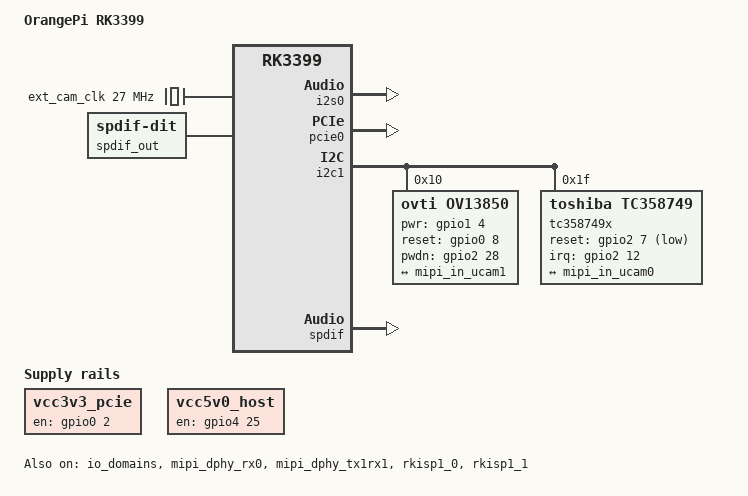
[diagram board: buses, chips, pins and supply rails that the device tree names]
/*
 * Copyright (c) 2016 Fuzhou Rockchip Electronics Co., Ltd
 *
 * This file is dual-licensed: you can use it either under the terms
 * of the GPL or the X11 license, at your option. Note that this dual
 * licensing only applies to this file, and not this project as a
 * whole.
 *
 *  a) This file is free software; you can redistribute it and/or
 *     modify it under the terms of the GNU General Public License as
 *     published by the Free Software Foundation; either version 2 of the
 *     License, or (at your option) any later version.
 *
 *     This file is distributed in the hope that it will be useful,
 *     but WITHOUT ANY WARRANTY; without even the implied warranty of
 *     MERCHANTABILITY or FITNESS FOR A PARTICULAR PURPOSE.  See the
 *     GNU General Public License for more details.
 *
 * Or, alternatively,
 *
 *  b) Permission is hereby granted, free of charge, to any person
 *     obtaining a copy of this software and associated documentation
 *     files (the "Software"), to deal in the Software without
 *     restriction, including without limitation the rights to use,
 *     copy, modify, merge, publish, distribute, sublicense, and/or
 *     sell copies of the Software, and to permit persons to whom the
 *     Software is furnished to do so, subject to the following
 *     conditions:
 *
 *     The above copyright notice and this permission notice shall be
 *     included in all copies or substantial portions of the Software.
 *
 *     THE SOFTWARE IS PROVIDED "AS IS", WITHOUT WARRANTY OF ANY KIND,
 *     EXPRESS OR IMPLIED, INCLUDING BUT NOT LIMITED TO THE WARRANTIES
 *     OF MERCHANTABILITY, FITNESS FOR A PARTICULAR PURPOSE AND
 *     NONINFRINGEMENT. IN NO EVENT SHALL THE AUTHORS OR COPYRIGHT
 *     HOLDERS BE LIABLE FOR ANY CLAIM, DAMAGES OR OTHER LIABILITY,
 *     WHETHER IN AN ACTION OF CONTRACT, TORT OR OTHERWISE, ARISING
 *     FROM, OUT OF OR IN CONNECTION WITH THE SOFTWARE OR THE USE OR
 *     OTHER DEALINGS IN THE SOFTWARE.
 */

/dts-v1/;
#include "rk3399-orangepi-common.dtsi"

//#include "rk3399-orangepi-rkisp1.dtsi"
#include "rk3399-orangepi-lcd.dtsi"

/ {
	model = "OrangePi RK3399";
	compatible = "rockchip,rk3399";

	vcc3v3_pcie: vcc3v3-pcie-regulator {
		compatible = "regulator-fixed";
		enable-active-high;
		regulator-always-on;
		regulator-boot-on;
		gpio = <&gpio0 2 GPIO_ACTIVE_HIGH>;
		pinctrl-names = "default";
		pinctrl-0 = <&pcie_drv>;
		regulator-name = "vcc3v3_pcie";
	};

        vcc5v0_host: vcc5v0-host-regulator {
		compatible = "regulator-fixed";
		enable-active-high;
		gpio = <&gpio4 25 GPIO_ACTIVE_HIGH>;
		pinctrl-names = "default";
		pinctrl-0 = <&host_vbus_drv>;
		regulator-name = "vcc5v0_host";
		regulator-always-on;
	};

        ext_cam_clk: external-camera-clock {
                compatible = "fixed-clock";
                clock-frequency = <27000000>;
                clock-output-names = "CLK_CAMERA_27MHZ";
                #clock-cells = <0>;
        };

        spdif_sound: spdif-sound {
                status = "okay";
                compatible = "simple-audio-card";
                simple-audio-card,name = "ROCKCHIP,SPDIF";
                simple-audio-card,cpu {
                        sound-dai = <&spdif>;
                };
                simple-audio-card,codec {
                        sound-dai = <&spdif_out>;
                };
        };

        spdif_out: spdif-out {
                status = "okay";
                compatible = "linux,spdif-dit";
                #sound-dai-cells = <0>;
        };
};

&i2s0 {
        status = "okay";
        rockchip,i2s-broken-burst-len;
        rockchip,playback-channels = <8>;
        rockchip,capture-channels = <8>;
        #sound-dai-cells = <0>;
};

&rt5651_card {
        simple-audio-card,cpu {
                sound-dai = <&i2s0>;
        };
};

&pcie0 {
	status = "okay";
};

&io_domains {
        status = "okay";
        bt656-supply = <&vcc_3v0>;           /* bt656_gpio2ab_ms */
};

&fusb0 {
	vbus-5v-gpios = <&gpio1 3 GPIO_ACTIVE_HIGH>;
};

&hdmi {
	ddc-i2c-bus = <&i2c3>;
};

&i2c1 {
	status = "okay";
         vm149c: vm149c@0c {
                compatible = "silicon touch,vm149c";
                status = "disable";
                reg = <0x0c>;
                rockchip,camera-module-index = <0>;
                rockchip,camera-module-facing = "back";
        };
/*
        ov13850_0: ov13850@11 {
                compatible = "ovti,ov13850";
                status = "okay";
                reg = <0x10>;
                clocks = <&cru SCLK_CIF_OUT>;
                clock-names = "xvclk";

                pwr-gpios = <&gpio1 4 GPIO_ACTIVE_HIGH>;
                reset-gpios = <&gpio0 8 GPIO_ACTIVE_HIGH>;
                pwdn-gpios = <&gpio2 27 GPIO_ACTIVE_HIGH>;
                pinctrl-names = "rockchip,camera_default";
                pinctrl-0 = <&cif_clkout>;
                rockchip,camera-module-index = <0>;
                rockchip,camera-module-facing = "back";
                rockchip,camera-module-name = "CMK-CT0116";
                rockchip,camera-module-lens-name = "Largan-50013A1";
//              lens-focus = <&vm149c_1>;

                port {
                        ucam_out0: endpoint {
                                remote-endpoint = <&mipi_in_ucam0>;
                                data-lanes = <1 2>;
                        };
                };
        };
*/
        ov13850: ov13850@10 {
                compatible = "ovti,ov13850";
                status = "okay";
                reg = <0x10>;
                clocks = <&cru SCLK_CIF_OUT>;
                clock-names = "xvclk";

                pwr-gpios = <&gpio1 4 GPIO_ACTIVE_HIGH>;
                reset-gpios = <&gpio0 8 GPIO_ACTIVE_HIGH>;
                pwdn-gpios = <&gpio2 28 GPIO_ACTIVE_HIGH>;
                pinctrl-names = "rockchip,camera_default";
                pinctrl-0 = <&cif_clkout>;
                rockchip,camera-module-index = <0>;
                rockchip,camera-module-facing = "back";
                rockchip,camera-module-name = "CMK-CT0116";
                rockchip,camera-module-lens-name = "Largan-50013A1";
//              lens-focus = <&vm149c>;

                port {
                        ucam_out1: endpoint {
                                remote-endpoint = <&mipi_in_ucam1>;
                                data-lanes = <1 2>;
                        };
                };
        };

	tc358749x: tc358749x@0f {
                compatible = "toshiba,tc358749";
                reg = <0x1f>;
                clocks = <&ext_cam_clk>;
                clock-names = "refclk";
                reset-gpios = <&gpio2 7 GPIO_ACTIVE_LOW>;
                interrupt-parent = <&gpio2>;
                interrupts = <12 IRQ_TYPE_LEVEL_LOW>;
                pinctrl-names = "default";
                pinctrl-0 = <&hdmiin_gpios>;
                rockchip,camera-module-index = <0>;
                rockchip,camera-module-facing = "back";
                rockchip,camera-module-name = "default";
                rockchip,camera-module-lens-name = "default";
                status = "okay";

                port {
                        hdmiin_out0: endpoint {
                                remote-endpoint = <&mipi_in_ucam0>;
                                data-lanes = <1 2 3 4>;
                                clock-noncontinuous;
                                link-frequencies = /bits/ 64 <297000000>;
                        };
                };
        };

};

&mipi_dphy_rx0 {
        status = "okay";

        ports {
                #address-cells = <1>;
                #size-cells = <0>;

                port@0 {
                        reg = <0>;
                        #address-cells = <1>;
                        #size-cells = <0>;

                        mipi_in_ucam0: endpoint@1 {
                                reg = <1>;
                                remote-endpoint = <&hdmiin_out0>;
                                data-lanes = <1 2 3 4>;
                        };
                };

                port@1 {
                        reg = <1>;
                        #address-cells = <1>;
                        #size-cells = <0>;

                        dphy_rx0_out: endpoint@0 {
                                reg = <0>;
                                remote-endpoint = <&isp0_mipi_in>;
                        };
                };
        };
};

&mipi_dphy_tx1rx1 {
        status = "okay";

        ports {
                #address-cells = <1>;
                #size-cells = <0>;

                port@0 {
                        reg = <0>;
                        #address-cells = <1>;
                        #size-cells = <0>;

                        mipi_in_ucam1: endpoint@1 {
                                reg = <1>;
                                remote-endpoint = <&ucam_out1>;
                                data-lanes = <1 2>;
                        };
                };

                port@1 {
                        reg = <1>;
                        #address-cells = <1>;
                        #size-cells = <0>;

                        dphy_tx1rx1_out: endpoint@0 {
                                reg = <0>;
                                remote-endpoint = <&isp1_mipi_in>;
                        };
                };
        };
};

&rkisp1_0 {
        status = "okay";

        port {
                #address-cells = <1>;
                #size-cells = <0>;

                isp0_mipi_in: endpoint@0 {
                        reg = <0>;
                        remote-endpoint = <&dphy_rx0_out>;
                };
        };
};


&rkisp1_1 {
        status = "okay";

        port {
                #address-cells = <1>;
                #size-cells = <0>;

                isp1_mipi_in: endpoint@0 {
                        reg = <0>;
                        remote-endpoint = <&dphy_tx1rx1_out>;
                };
        };
};

&isp0_mmu {
        status = "okay";
};

&dsi {
	status = "disabled";
	/delete-property/enable-gpios;
	/delete-property/reset-gpios;
	panel@1 {
		enable-gpios = <&gpio1 13 GPIO_ACTIVE_HIGH>;
                reset-gpios = <&gpio4 30 GPIO_ACTIVE_LOW>;
	};
};

&gt9xx_1 {
	status = "disabled";
	touch-gpio = <&gpio1 20 IRQ_TYPE_LEVEL_LOW>;
        reset-gpio = <&gpio0 12 GPIO_ACTIVE_HIGH>;
};
&isp1_mmu {
        status = "okay";
};

&i2c7 {
	status = "disabled";
};

&spdif {
        status = "okay";
        pinctrl-0 = <&spdif_bus>;
        i2c-scl-rising-time-ns = <450>;
        i2c-scl-falling-time-ns = <15>;
        #sound-dai-cells = <0>;
};

&pinctrl {
	pcie {
		pcie_drv: pcie-drv {
		rockchip,pins =
			<0 2 RK_FUNC_GPIO &pcfg_pull_none>;
		};
	};
	usb2 {
		host_vbus_drv: host-vbus-drv {
			rockchip,pins =
				<4 25 RK_FUNC_GPIO &pcfg_pull_none>;
		};
	};

        hdmiin {
                hdmiin_gpios: hdmiin-gpios {
                        rockchip,pins =
                                <2 5 RK_FUNC_GPIO &pcfg_output_high>,
                                <2 6 RK_FUNC_GPIO &pcfg_output_high>,
                                <2 7 RK_FUNC_GPIO &pcfg_pull_none>,
                                <2 8 RK_FUNC_GPIO &pcfg_output_high>,
				<2 9 RK_FUNC_GPIO &pcfg_output_high>,
				<2 10 RK_FUNC_GPIO &pcfg_output_low>,
				<2 12 RK_FUNC_GPIO &pcfg_output_high>;
                };
        };


};
